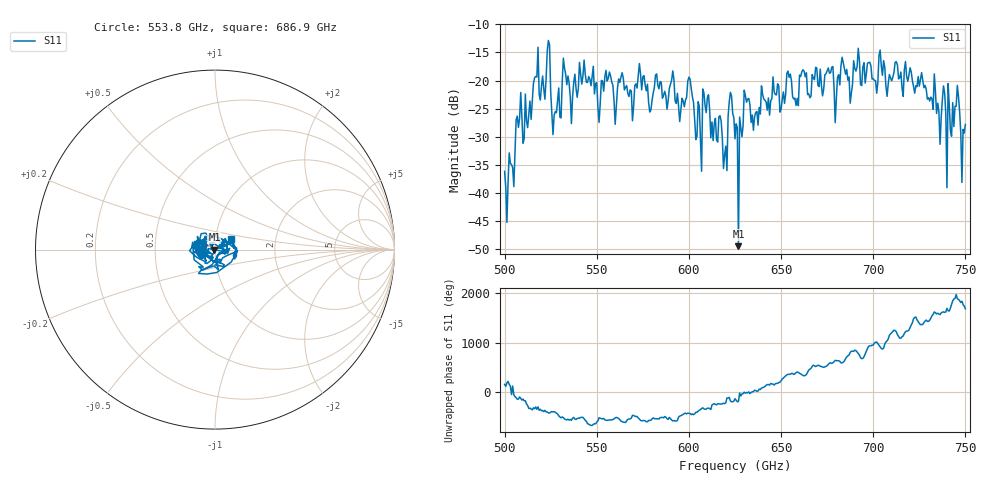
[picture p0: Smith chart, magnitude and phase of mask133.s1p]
!Created with skrf (http://scikit-rf.org).
# GHz S MA R 50.0
!freq magS11 angS11
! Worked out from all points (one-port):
!   401 points, 500 GHz to 750 GHz, reference 50 ohm
!   lowest |S11| = -49.6 dB at 626.9 GHz (marker M1), VSWR 1.01, Z = 49.7 + j0.0254 ohm
!   |S11| at or under -10 dB: start of sweep to end of sweep
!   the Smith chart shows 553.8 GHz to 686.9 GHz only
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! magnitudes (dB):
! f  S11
! 500 GHz  -36.2
! 516.9 GHz  -19.3
! 520.6 GHz  -19.2
! 523.8 GHz  -12.9
! 526.9 GHz  -26.2
! 531.2 GHz  -20.3
! 562.5 GHz  -20.4
! 574.4 GHz  -21.7
! 579.4 GHz  -25.3
! 590.6 GHz  -19.9
! 593.8 GHz  -22.3
! 600.6 GHz  -19.7
! 605.6 GHz  -24.6
! 609.4 GHz  -25.7
! 619.4 GHz  -33.3
! 622.5 GHz  -22.1
! 625 GHz  -30.4
! 626.9 GHz  -49.6
! 631.2 GHz  -23.9
! 636.2 GHz  -25.7
! 656.2 GHz  -22.9
! 676.9 GHz  -18.6
! 680 GHz  -23.1
! 683.8 GHz  -16.9
! 687.5 GHz  -24.1
! 690.6 GHz  -18.3
! 718.8 GHz  -20.2
! 750 GHz  -27.8
